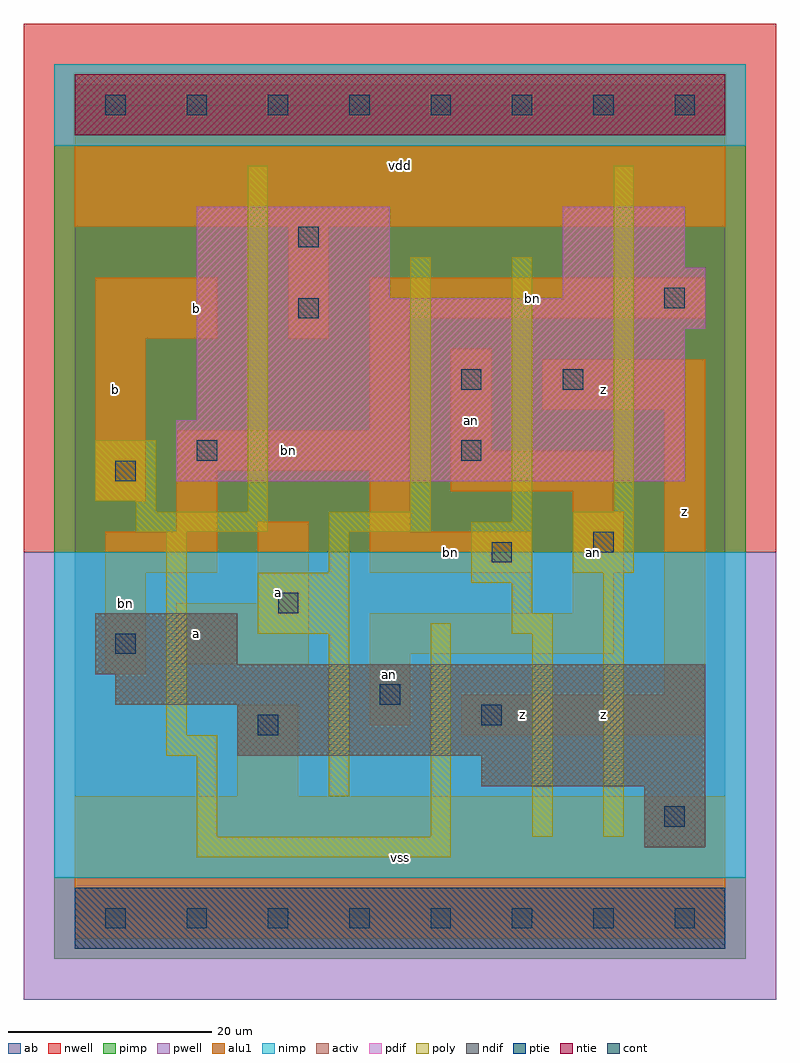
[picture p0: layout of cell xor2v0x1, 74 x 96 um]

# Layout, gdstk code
import gdstk
lib = gdstk.Library(unit=1e-6, precision=1e-09)
def R(c, l, rs):  # rectangles x0, y0, x1, y1
    for r in rs: c.add(gdstk.rectangle(r[:2], r[2:], *l))
def A(c, l, x, y, w, h, nx, ny, dx, dy):  # array of equal rectangles
    R(c, l, [(x+i*dx, y+j*dy, x+i*dx+w, y+j*dy+h) for i in range(nx) for j in range(ny)])
ndif = (3, 0)
pdif = (4, 0)
ntie = (5, 0)
ptie = (6, 0)
cont = (25, 0)
pwell = (41, 0)
nwell = (42, 0)
activ = (43, 0)
pimp = (44, 0)
nimp = (45, 0)
poly = (46, 0)
alu1 = (49, 0)
ab = (63, 0)

xor2v0x1 = lib.new_cell('xor2v0x1')
R(xor2v0x1, ndif, [(56,7,62,13), (40,13,62,16), (16,16,62,21), (4,21,62,24), (2,24,62,25), (2,25,16,30)])
R(xor2v0x1, pdif, [(10,43,60,49), (12,49,60,58), (12,58,62,61), (12,61,31,70), (48,61,62,64), (48,64,60,70)])
R(xor2v0x1, ntie, [(0,77,64,83)])
R(xor2v0x1, ptie, [(0,-3,64,3)])
A(xor2v0x1, cont, 3, -1, 2, 2, 8, 2, 8, 80)
R(xor2v0x1, cont, [(58,9,60,11), (18,18,20,20), (40,19,42,21), (30,21,32,23), (4,26,6,28), (20,30,22,32), (41,35,43,37), (51,36,53,38), (4,43,6,45), (12,45,14,47), (38,45,40,47), (38,52,40,54), (48,52,50,54), (22,59,24,61), (58,60,60,62), (22,66,24,68)])
R(xor2v0x1, pwell, [(-5,-8,69,36)])
R(xor2v0x1, nwell, [(-5,36,69,88)])
R(xor2v0x1, activ, [(0,-3,64,3), (56,7,62,13), (40,13,62,16), (16,16,62,21), (4,21,62,24), (2,24,62,25), (2,25,16,30), (10,43,60,49), (12,49,60,58), (12,58,62,61), (12,61,31,70), (48,61,62,64), (48,64,60,70), (0,77,64,83)])
R(xor2v0x1, pimp, [(-2,-4,66,4), (-2,36,66,76)])
R(xor2v0x1, nimp, [(-2,4,66,36), (-2,76,66,84)])
R(xor2v0x1, poly, [(12,6,37,8), (12,8,14,16), (35,8,37,29), (45,8,47,28), (52,8,54,34), (25,12,27,28), (9,16,14,18), (9,18,11,38), (18,28,27,34), (43,28,47,30), (43,30,45,33), (39,33,45,39), (25,34,27,38), (49,34,55,40), (6,38,19,40), (25,38,35,40), (43,39,45,65), (6,40,8,41), (17,40,19,74), (33,40,35,65), (53,40,55,74), (2,41,8,47)])
R(xor2v0x1, alu1, [(0,-2,64,12), (16,12,22,21), (38,18,62,22), (29,19,33,26), (58,22,62,50), (3,24,7,34), (10,25,23,31), (29,26,53,30), (49,30,53,34), (18,31,23,39), (3,34,14,38), (29,34,45,38), (49,34,54,40), (10,38,14,44), (29,38,33,44), (49,40,53,42), (2,41,7,57), (37,42,53,46), (10,44,33,48), (37,46,41,56), (29,48,33,59), (46,50,62,55), (2,57,14,63), (21,57,25,68), (29,59,62,63), (0,68,64,82)])
R(xor2v0x1, ab, [(0,0,64,80)])
xor2v0x1.add(gdstk.Label('bn', (5,31), layer=49, texttype=0))
xor2v0x1.add(gdstk.Label('an', (31,24), layer=49, texttype=0))
xor2v0x1.add(gdstk.Label('bn', (37,36), layer=49, texttype=0))
xor2v0x1.add(gdstk.Label('an', (39,49), layer=49, texttype=0))
xor2v0x1.add(gdstk.Label('bn', (21,46), layer=49, texttype=0))
xor2v0x1.add(gdstk.Label('an', (51,36), layer=49, texttype=0))
xor2v0x1.add(gdstk.Label('bn', (45,61), layer=49, texttype=0))
xor2v0x1.add(gdstk.Label('a', (12,28), layer=49, texttype=0))
xor2v0x1.add(gdstk.Label('b', (4,52), layer=49, texttype=0))
xor2v0x1.add(gdstk.Label('b', (12,60), layer=49, texttype=0))
xor2v0x1.add(gdstk.Label('a', (20,32), layer=49, texttype=0))
xor2v0x1.add(gdstk.Label('vss', (32,6), layer=49, texttype=0))
xor2v0x1.add(gdstk.Label('z', (44,20), layer=49, texttype=0))
xor2v0x1.add(gdstk.Label('vdd', (32,74), layer=49, texttype=0))
xor2v0x1.add(gdstk.Label('z', (52,20), layer=49, texttype=0))
xor2v0x1.add(gdstk.Label('z', (60,40), layer=49, texttype=0))
xor2v0x1.add(gdstk.Label('z', (52,52), layer=49, texttype=0))

lib.write_gds('xor2v0x1.gds')
